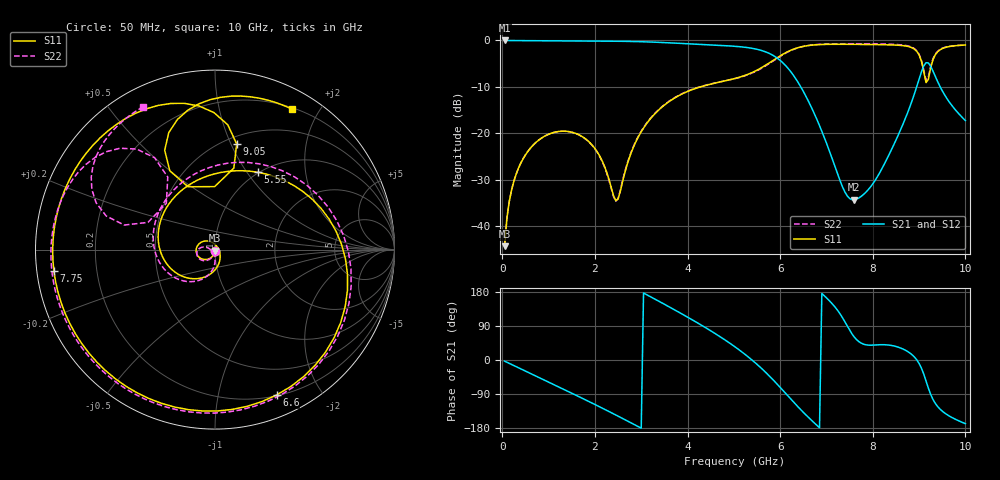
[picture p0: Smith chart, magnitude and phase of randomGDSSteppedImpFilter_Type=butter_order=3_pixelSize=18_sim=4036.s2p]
! freq	dB(S11)	phase(S11)	dB(S12)	phase(S12)
!  dB(S21)	phase(S21)	dB(S22)	phase(S22)
!S-par simulation data
#  GHz  S  DB  R 50
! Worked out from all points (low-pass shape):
!   200 points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, 50 MHz to 10 GHz, reference 50 ohm
!   highest |S21| = -0.01 dB at 50 MHz (marker M1); lowest = -34.3 dB at 7.6 GHz (marker M2)
!   |S21| within 3 dB of the highest: start of sweep to 5.807 GHz
!   lowest |S11| = -44.3 dB at 50 MHz (marker M3), VSWR 1.01, Z = 50 - j0.609 ohm
!   |S11| at or under -10 dB: start of sweep to 4.279 GHz
!   |S22| runs from -44.2 to -0.7 dB; largest |S21 - S12| = 0
!   S11 on the Smith chart (normalised r, x): 50 MHz: 1.00, -0.01; 5.55 GHz: 0.99, +1.13; 6.6 GHz: 0.21, -1.49; 7.75 GHz: 0.05, -0.07; 9.05 GHz: 0.57, +1.05; 10 GHz: 0.22, +1.67
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0.05  -44.29 -92.8  -0.01 -3.0  -0.01 -3.0  -44.18 -92.1
0.2  -32.22 -103.0  -0.03 -11.8  -0.03 -11.8  -32.20 -101.0
0.55  -23.91 -125.0  -0.06 -32.2  -0.06 -32.2  -23.91 -120.3
1.75  -20.85 155.6  -0.15 -102.4  -0.15 -102.4  -20.89 177.7
2.45  -34.51 38.5  -0.17 -145.0  -0.17 -145.0  -34.63 -147.3
2.85  -22.55 -71.4  -0.24 -170.3  -0.24 -170.3  -22.40 -90.5
3.4  -14.76 -118.6  -0.42 153.8  -0.42 153.8  -14.67 -115.0
4.25  -10.09 175.9  -0.84 95.5  -0.84 95.5  -10.03 -165.9
5.05  -8.12 108.8  -1.29 32.5  -1.29 32.5  -8.16 134.5
5.55  -6.14 60.8  -2.03 -16.8  -2.03 -16.8  -6.27 81.9
6.15  -2.49 -10.6  -5.77 -92.4  -5.77 -92.4  -2.58 -0.9
6.6  -1.11 -67.1  -12.87 -150.1  -12.87 -150.1  -1.10 -59.6
6.7  -1.00 -78.4  -14.93 -161.8  -14.93 -161.8  -0.97 -70.6
7.6  -0.85 -160.9  -34.30 60.6  -34.30 60.6  -0.71 -142.4
7.75  -0.86 -172.5  -33.57 44.5  -33.57 44.5  -0.72 -151.5
8.35  -0.95 143.2  -24.62 39.4  -24.62 39.4  -0.81 174.7
8.8  -1.41 106.8  -14.31 18.6  -14.31 18.6  -1.29 146.6
9.05  -4.43 78.4  -6.81 -21.3  -6.81 -21.3  -4.26 123.3
9.15  -9.09 90.3  -4.80 -55.2  -4.80 -55.2  -8.54 136.5
9.3  -4.15 116.9  -6.60 -104.0  -6.60 -104.0  -3.96 162.9
9.55  -1.56 91.9  -11.70 -139.7  -11.70 -139.7  -1.51 142.1
10  -0.99 61.2  -17.25 -167.9  -17.25 -167.9  -1.01 116.9
